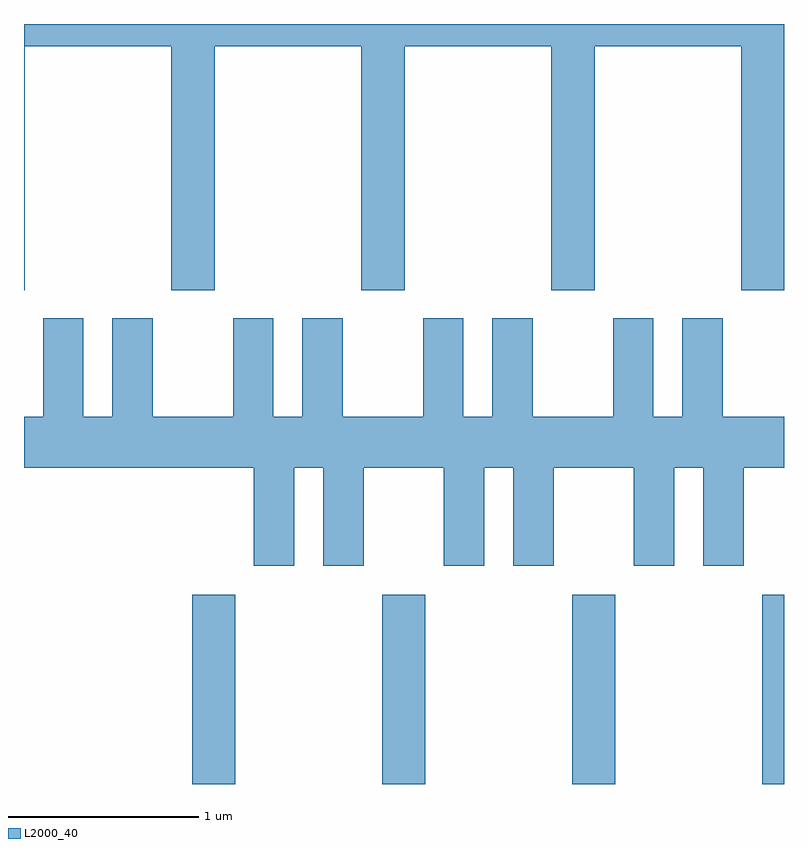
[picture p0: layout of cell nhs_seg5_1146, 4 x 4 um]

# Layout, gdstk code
import gdstk
lib = gdstk.Library(unit=1e-6, precision=1e-09)
def R(c, l, rs):  # rectangles x0, y0, x1, y1
    for r in rs: c.add(gdstk.rectangle(r[:2], r[2:], *l))
def A(c, l, x, y, w, h, nx, ny, dx, dy):  # array of equal rectangles
    R(c, l, [(x+i*dx, y+j*dy, x+i*dx+w, y+j*dy+h) for i in range(nx) for j in range(ny)])
def P(c, l, *ps):  # polygons
    for p in ps: c.add(gdstk.Polygon(p, *l))
L2000_40 = (2000, 40)

nhs_seg5_1146 = lib.new_cell('nhs_seg5_1146')
A(nhs_seg5_1146, L2000_40, 220.496, 1404.072, 0.228, 0.997, 3, 1, 1, 0)
R(nhs_seg5_1146, L2000_40, [(223.496,1404.072,223.611,1405.069)])
P(nhs_seg5_1146, L2000_40, [(219.611,1406.671),(219.614,1406.671),(219.614,1407.956),(220.386,1407.956),(220.386,1406.671),(220.614,1406.671),(220.614,1407.956),(221.386,1407.956),(221.386,1406.671),(221.614,1406.671),(221.614,1407.956),(222.386,1407.956),(222.386,1406.671),(222.614,1406.671),(222.614,1407.956),(223.386,1407.956),(223.386,1406.671),(223.611,1406.671),(223.611,1408.072),(219.611,1408.072)],
  [(221.034,1405.736),(221.186,1405.736),(221.186,1405.221),(221.399,1405.221),(221.399,1405.736),(221.821,1405.736),(221.821,1405.221),(222.034,1405.221),(222.034,1405.736),(222.186,1405.736),(222.186,1405.221),(222.399,1405.221),(222.399,1405.736),(222.821,1405.736),(222.821,1405.221),(223.034,1405.221),(223.034,1405.736),(223.186,1405.736),(223.186,1405.221),(223.399,1405.221),(223.399,1405.736),(223.611,1405.736),(223.611,1406.004),(223.289,1406.004),(223.289,1406.524),(223.076,1406.524),(223.076,1406.004),(222.924,1406.004),(222.924,1406.524),(222.711,1406.524),(222.711,1406.004),(222.289,1406.004),(222.289,1406.524),(222.076,1406.524),(222.076,1406.004),(221.924,1406.004),(221.924,1406.524),(221.711,1406.524),(221.711,1406.004),(221.289,1406.004),(221.289,1406.524),(221.076,1406.524),(221.076,1406.004),(220.924,1406.004),(220.924,1406.524),(220.711,1406.524),(220.711,1406.004),(220.289,1406.004),(220.289,1406.524),(220.076,1406.524),(220.076,1406.004),(219.924,1406.004),(219.924,1406.524),(219.711,1406.524),(219.711,1406.004),(219.611,1406.004),(219.611,1405.736),(220.821,1405.736),(220.821,1405.221),(221.034,1405.221)])

lib.write_gds('nhs_seg5_1146.gds')
